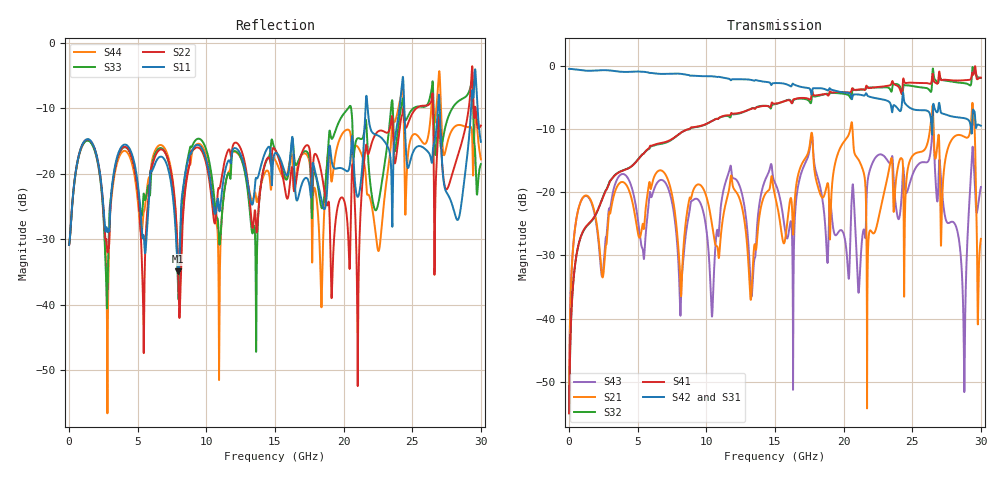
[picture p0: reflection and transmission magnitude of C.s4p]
!MTL model of C, calibrated on full-wave A (medium)
# Hz S RI R 50.0
!freq ReS11 ImS11 ReS12 ImS12 ReS13 ImS13
! ReS14 ImS14
! ReS21 ImS21 ReS22 ImS22 ReS23 ImS23
! ReS24 ImS24
! ReS31 ImS31 ReS32 ImS32 ReS33 ImS33
! ReS34 ImS34
! ReS41 ImS41 ReS42 ImS42 ReS43 ImS43
! ReS44 ImS44
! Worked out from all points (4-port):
!   3000 points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, 10 MHz to 30 GHz, reference 50 ohm
!   strongest paths, dB at 10 MHz, 7.51 GHz, 15.01 GHz, 22.51 GHz, 30 GHz:
!     S42: -0.4, -1.2, -2.7, -5.1, -9.4
!     S31: -0.4, -1.1, -2.7, -5.1, -9.0
!     S41: -55.0, -11.5, -5.9, -3.3, -1.8
!     S32: -55.0, -11.6, -6.0, -3.4, -1.8
!     S21: -54.4, -20.4, -20.5, -24.4, -27.4
!     S43: -54.4, -21.6, -18.5, -14.1, -19.1
!   lowest |S11| = -34.9 dB at 7.96 GHz (marker M1), VSWR 1.04, Z = 51.7 + j0.675 ohm
!   |S11| at or under -10 dB: start of sweep to 21.59 GHz; 21.75 GHz to 24.07 GHz (2.319 GHz wide, 10.1 % of centre); 24.42 GHz to 26.87 GHz (2.45 GHz wide, 9.56 % of centre)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
1e7  -0.0286 0.00259  0.00144 0.00123  0.9533 -0.0113  0.00165 -0.000661
     0.00144 0.00123  -0.0286 0.00258  0.00165 -0.000661  0.9533 -0.0113
     0.9533 -0.0113  0.00165 -0.000661  -0.0287 0.00255  0.00145 0.00124
     0.00165 -0.000661  0.9533 -0.0113  0.00145 0.00124  -0.0287 0.00256
7.96e9  0.0169 0.00653  0.0142 -0.0343  -0.818 -0.3099  -0.0708 0.2779
        0.0142 -0.0343  0.01 -0.0136  -0.1087 0.2651  -0.8178 -0.3093
        -0.818 -0.3099  -0.1087 0.2651  -0.00966 -0.00688  0.0132 -0.0258
        -0.0708 0.2779  -0.8178 -0.3093  0.0132 -0.0258  0.0134 -0.0103
1.099e10  0.0484 0.0213  -0.00589 0.0363  0.8217 0.0413  -0.0333 -0.3924
          -0.00589 0.0363  0.0653 0.044  0.0361 -0.3903  0.8209 0.0315
          0.8217 0.0413  0.0361 -0.3903  0.0291 0.0038  0.0373 0.0522
          -0.0333 -0.3924  0.8209 0.0315  0.0373 0.0522  0.00721 0.0167
1.372e10  0.0878 0.0289  0.0185 0.0413  -0.7685 -0.0572  0.0414 0.4723
          0.0185 0.0413  0.0345 0.0181  -0.0693 0.4722  -0.7698 -0.0477
          -0.7685 -0.0572  -0.0693 0.4722  0.00626 0.032  0.0201 0.0541
          0.0414 0.4723  -0.7698 -0.0477  0.0201 0.0541  0.06 0.0115
2.465e10  0.0731 -0.0853  -0.0487 0.1394  -0.4749 -0.0725  0.0906 0.7349
          -0.0487 0.1394  0.2334 0.024  -0.1975 0.6775  -0.4848 0.0132
          -0.4749 -0.0725  -0.1975 0.6775  0.2683 0.0139  -0.0591 0.0836
          0.0906 0.7349  -0.4848 0.0132  -0.0591 0.0836  0.1238 0.00214
2.71e10  -0.1066 0.1386  -0.0217 0.0312  0.3455 0.2117  0.0902 -0.7718
         -0.0217 0.0312  -0.0756 -0.1403  0.4653 -0.6341  0.4145 0.1063
         0.3455 0.2117  0.4653 -0.6341  -0.0245 0.1567  0.1129 -0.0562
         0.0902 -0.7718  0.4145 0.1063  0.1129 -0.0562  0.2879 -0.0509
3e10  0.1735 0.0224  0.0127 -0.0409  -0.3253 -0.1376  0.0858 0.8087
      0.0127 -0.0409  0.041 0.2291  -0.3472 0.7305  -0.3377 0.00743
      -0.3253 -0.1376  -0.3472 0.7305  0.0636 -0.0999  0.0734 0.0823
      0.0858 0.8087  -0.3377 0.00743  0.0734 0.0823  0.1257 0.0275
